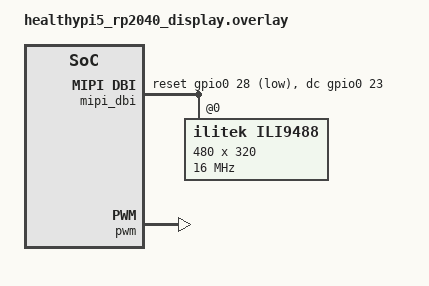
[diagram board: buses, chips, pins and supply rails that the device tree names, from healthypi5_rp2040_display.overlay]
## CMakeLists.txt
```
#-------------------------------------------------------------------------------
# Zephyr Example Application
#
# Copyright (c) 2021 Nordic Semiconductor ASA
# SPDX-License-Identifier: Apache-2.0

cmake_minimum_required(VERSION 3.13.1)
find_package(Zephyr REQUIRED HINTS $ENV{ZEPHYR_BASE})

# Apply Zephyr patches before build
#file(GLOB_RECURSE files RELATIVE ${CMAKE_SOURCE_DIR} "patches/*.diff")
#foreach(file ${files})
#    execute_process(COMMAND 
#                    patch -p1 -d $ENV{ZEPHYR_BASE} -i ${CMAKE_CURRENT_SOURCE_DIR}/${file} -r - --no-backup-if-mismatch)
#endforeach()

project(app LANGUAGES C)

FILE(GLOB app_sources src/*.c)
# Exclude BLE module from the unconditional source list. Added below via
# `target_sources_ifdef(CONFIG_HEALTHYPI_BLE_ENABLED ...)`.
list(REMOVE_ITEM app_sources ${CMAKE_CURRENT_SOURCE_DIR}/src/ble_module.c)
# Display/LVGL module is also excluded here and added conditionally below.
# This lets us build a no-LVGL variant for isolating display-related issues
# without touching #ifdef guards in every consumer.
list(REMOVE_ITEM app_sources ${CMAKE_CURRENT_SOURCE_DIR}/src/display_module.c)

FILE(GLOB ui_images_sources src/ui/images/*.c)
FILE(GLOB ui_sources src/ui/*.c)

# Explicitly list screen files (excluding scr_all_trends.c)
set(screen_sources
    src/ui/screens/scr_welcome.c
    src/ui/screens/scr_home.c
    src/ui/screens/scr_hr.c
    src/ui/screens/scr_spo2.c
    src/ui/screens/scr_rr.c
    src/ui/screens/scr_temp.c
    # src/ui/screens/scr_all_trends.c  # Disabled
)

target_sources(app PRIVATE ${app_sources})

# Add vital stats module
target_sources(app PRIVATE src/vital_stats.c)

# Add BLE module only if enabled in Kconfig
target_sources_ifdef(CONFIG_HEALTHYPI_BLE_ENABLED app PRIVATE src/ble_module.c)

# Add display/LVGL module + UI sources only if HEALTHYPI_DISPLAY_ENABLED.
# When disabled (e.g. via make_nolvgl.sh) these files are skipped entirely,
# so LVGL headers and the display thread are gone from the image — useful
# for narrowing down whether display work is the source of a regression.
target_sources_ifdef(CONFIG_HEALTHYPI_DISPLAY_ENABLED app PRIVATE
    src/display_module.c
    ${ui_images_sources}
    ${ui_sources}
    ${screen_sources}
)

#FILE(GLOB bt_sources src/bt/*.c)
#target_sources_ifdef(CONFIG_BT app PRIVATE ${bt_sources})

zephyr_include_directories(src)
zephyr_include_directories(src/display)
zephyr_include_directories(src/ui)
zephyr_include_directories(src/ui/images)
zephyr_include_directories(src/bt)
```

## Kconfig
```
# Copyright (c) 2021 Nordic Semiconductor ASA
# SPDX-License-Identifier: Apache-2.0
#
# This file is the application Kconfig entry point. All application Kconfig
# options can be defined here or included via other application Kconfig files.
# You can browse these options using the west targets menuconfig (terminal) or
# guiconfig (GUI).

mainmenu "HealthyPi 5 Project Configuration"

config HEALTHYPI_USB_CDC_ENABLED
    bool "Enable USB CDC"
    default n
    help
      Enable USB CDC

config HEALTHYPI_DISPLAY_ENABLED
    bool "Enable Display"
    default n
    help
      Enable Display

config HEALTHYPI_USB_MSC_ENABLED
    bool "Enable USB Mass Storage"
    default n
    help
      Enable USB MSC

config HEALTHYPI_SD_CARD_ENABLED
    bool "Enable SD Card"
    default n
    help
      Enable SD Card

config HEALTHYPI_BLE_ENABLED
    bool "Enable BLE support"
    default y
    help
      Enable building and initializing the Bluetooth (BLE) module.
      When disabled, `ble_module.c` is not compiled and Bluetooth features
      are excluded from the firmware image.
source "Kconfig.zephyr"
```

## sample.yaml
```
# This file is provided so that the application can be compiled using Twister,
# the Zephyr testing tool. In this file, multiple combinations can be specified,
# so that you can easily test all of them locally or in CI.
sample:
  description: Example application
  name: example-application 
common:
  build_only: true
  integration_platforms:
    - healthypi5_rp2040
tests:
  app.default: {}
  app.debug:
    extra_overlay_confs:
      - debug.conf
```

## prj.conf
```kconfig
# HealthyPi 5 Specific Configuration
CONFIG_HEALTHYPI_USB_CDC_ENABLED=y
CONFIG_HEALTHYPI_USB_MSC_ENABLED=n
CONFIG_HEALTHYPI_BLE_ENABLED=y
#CONFIG_HEALTHYPI_DISPLAY_ENABLED=n

CONFIG_DISK_ACCESS=y
CONFIG_DISK_DRIVER_SDMMC=y

CONFIG_FAT_FILESYSTEM_ELM=y
CONFIG_HEALTHYPI_SD_CARD_ENABLED=y

# Memory Configuration
CONFIG_HEAP_MEM_POOL_SIZE=32528
CONFIG_SYSTEM_WORKQUEUE_STACK_SIZE=12288
CONFIG_MAIN_STACK_SIZE=4096

# Zephyr OS Configuration
CONFIG_SMF=y
CONFIG_EVENTS=y
CONFIG_LOG=y
CONFIG_CBPRINTF_FP_SUPPORT=y

# Debug Configuration - Stack Overflow Detection
# Disabled to reduce RAM usage (was at 99.24%)
CONFIG_THREAD_STACK_INFO=n
CONFIG_THREAD_MONITOR=n
CONFIG_INIT_STACKS=n
CONFIG_THREAD_NAME=n
CONFIG_STACK_SENTINEL=y
#CONFIG_THREAD_ANALYZER=y
#CONFIG_THREAD_ANALYZER_AUTO=y
#CONFIG_THREAD_ANALYZER_AUTO_INTERVAL=60

# Runtime Checks and Assertions - Keep for crash detection
CONFIG_ASSERT=y
CONFIG_ASSERT_LEVEL=2

# Exception/Fault Debugging
CONFIG_EXTRA_EXCEPTION_INFO=y

# Logging buffer
CONFIG_LOG_BUFFER_SIZE=2048

# Peripheral device drivers
CONFIG_SENSOR=y
CONFIG_SENSOR_MAX30001=y
CONFIG_SENSOR_AFE4400=y
CONFIG_SENSOR_MAX30205=y
CONFIG_I2C=y
CONFIG_I2C_LOG_LEVEL_OFF=y
CONFIG_FUEL_GAUGE=y

CONFIG_SENSOR_ASYNC_API=y

CONFIG_ADC=y
CONFIG_LED=y
CONFIG_GPIO=y
CONFIG_SERIAL=y
CONFIG_UART_INTERRUPT_DRIVEN=y
CONFIG_SERIAL=y
CONFIG_CONSOLE=y
CONFIG_UART_CONSOLE=y
CONFIG_UART_LINE_CTRL=y

CONFIG_REBOOT=y

# Reset-cause readout (RP2040 reset reason register) for crash post-mortem
CONFIG_HWINFO=y

# Hardware watchdog - 8 second timeout to detect hard faults
CONFIG_WATCHDOG=y

# Filesystem & Internal Flash support to store data
CONFIG_FLASH=y
CONFIG_FLASH_MAP=y
CONFIG_FLASH_PAGE_LAYOUT=y
CONFIG_FILE_SYSTEM=y
CONFIG_FILE_SYSTEM_LITTLEFS=y
CONFIG_MPU_ALLOW_FLASH_WRITE=y

# Enabled settings module and FS to store settings
CONFIG_SETTINGS=y
CONFIG_SETTINGS_RUNTIME=y
CONFIG_SETTINGS_FILE=y
CONFIG_SETTINGS_FILE_PATH="/lfs/settings"

# USB Configuration — USBD-next stack (the legacy CONFIG_USB_DEVICE_STACK was
# deprecated in Zephyr 4.x and has known TX-stall issues on RP2040 under
# sustained CDC streaming). VID/PID/product strings are now set in
# src/usbd_init.c via USBD_DESC_* macros, not via Kconfig.
CONFIG_USB_DEVICE_STACK_NEXT=y
CONFIG_USBD_CDC_ACM_CLASS=y
# We bring up the CDC-ACM UART explicitly from usb_init() after the ring
# buffer is initialized, so don't auto-initialize at boot.
CONFIG_CDC_ACM_SERIAL_INITIALIZE_AT_BOOT=n
CONFIG_USBD_LOG_LEVEL_ERR=y
CONFIG_UDC_DRIVER_LOG_LEVEL_ERR=y
CONFIG_USBD_CDC_ACM_LOG_LEVEL_ERR=y

# Enable MCUmgr and dependencies.
CONFIG_NET_BUF=y
CONFIG_ZCBOR=y
CONFIG_CRC=y
CONFIG_MCUMGR=y
CONFIG_STREAM_FLASH=y
CONFIG_FLASH_MAP=y

CONFIG_BASE64=y
CONFIG_CONSOLE=y

CONFIG_PRINTK=y

CONFIG_INPUT=y

CONFIG_REQUIRES_FULL_LIBC=y
CONFIG_REQUIRES_FLOAT_PRINTF=y

CONFIG_CMSIS_DSP=y
CONFIG_CMSIS_DSP_FILTERING=y
# Ensure an MCUboot-compatible binary is generated.
#CONFIG_BOOTLOADER_MCUBOOT=y

# Tensorflow Lite Configuration
#CONFIG_CPP=y
#CONFIG_LIB_CPLUSPLUS=y
#CONFIG_NEWLIB_LIBC=y
#CONFIG_TENSORFLOW_LITE_MICRO=y
#CONFIG_TENSORFLOW_LITE_MICRO_CMSIS_NN_KERNELS=y

CONFIG_LOG=y
CONFIG_UART_CONSOLE=y

CONFIG_ENTROPY_GENERATOR=y
CONFIG_TEST_RANDOM_GENERATOR=y

CONFIG_LV_USE_LOG=y
CONFIG_LV_LOG_LEVEL_ERROR=y

CONFIG_DISPLAY_LOG_LEVEL_DBG=n
CONFIG_INPUT_LOG_LEVEL_DBG=n
CONFIG_SENSOR_LOG_LEVEL_WRN=y
CONFIG_MAX30001_LOG_LEVEL_WRN=y

## Bluetooth Configuration
# BT Host only configuration
CONFIG_BT=y
CONFIG_BT_HCI=y

CONFIG_BT_PERIPHERAL=y
CONFIG_BT_BAS=y
CONFIG_BT_HRS=y
CONFIG_BT_DEVICE_NAME="healthypi 5"

# BT HCI H4 Controller logs
CONFIG_BT_LOG_LEVEL_ERR=y
CONFIG_BT_HCI_DRIVER_LOG_LEVEL_ERR=y
CONFIG_BT_LL_SW_SPLIT=n

CONFIG_BT_ATT_TX_COUNT=50
CONFIG_BT_HCI_TX_STACK_SIZE_WITH_PROMPT=y
CONFIG_BT_HCI_TX_STACK_SIZE=4096
CONFIG_BT_RX_STACK_SIZE=4096

CONFIG_BT_ATT_PREPARE_COUNT=2
CONFIG_BT_L2CAP_TX_MTU=96
#CONFIG_BT_BUF_ACL_RX_SIZE=32777
#CONFIG_BT_BUF_ACL_RX_SIZE=502
#CONFIG_BT_BUF_ACL_TX_SIZE=502

CONFIG_BT_BUF_ACL_RX_SIZE=255
CONFIG_BT_BUF_ACL_TX_SIZE=251
CONFIG_BT_BUF_CMD_TX_SIZE=255

CONFIG_ZBUS=y
```

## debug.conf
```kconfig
# Copyright (c) 2021 Nordic Semiconductor ASA
# SPDX-License-Identifier: Apache-2.0
#
# This is a Kconfig fragment which can be used to enable debug-related options
# in the application. See the README for more details.

# compiler
CONFIG_DEBUG_OPTIMIZATIONS=y

# console
CONFIG_CONSOLE=y

# UART console
CONFIG_SERIAL=y
CONFIG_UART_CONSOLE=y

# logging
#CONFIG_LOG=y
#CONFIG_APP_LOG_LEVEL_DBG=y

# Post-mortem visibility for the USB-streaming reset investigation.
# These are intentionally OFF in prj.conf to save RAM (~99% on prod build);
# the debug image trades that headroom for diagnostics.
CONFIG_THREAD_NAME=y
CONFIG_THREAD_MONITOR=y
CONFIG_THREAD_STACK_INFO=y
CONFIG_THREAD_ANALYZER=y
CONFIG_THREAD_ANALYZER_AUTO=y
CONFIG_THREAD_ANALYZER_AUTO_INTERVAL=60
CONFIG_INIT_STACKS=y
CONFIG_EXTRA_EXCEPTION_INFO=y
```

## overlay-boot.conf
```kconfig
# Enable MCUmgr and dependencies.
CONFIG_NET_BUF=y
CONFIG_ZCBOR=y
CONFIG_CRC=y
CONFIG_MCUMGR=y
CONFIG_STREAM_FLASH=y
CONFIG_FLASH_MAP=y

# Enable the Shell mcumgr transport.
CONFIG_BASE64=y
#CONFIG_CRC=y
#CONFIG_SHELL=y
#CONFIG_SHELL_BACKEND_SERIAL=y
#CONFIG_MCUMGR_TRANSPORT_SHELL=y

# Enable the LittleFS file system.
CONFIG_FILE_SYSTEM=y
CONFIG_FILE_SYSTEM_LITTLEFS=y

# Disable Bluetooth ping support
CONFIG_BT_CTLR_LE_PING=n

# Ensure an MCUboot-compatible binary is generated.
CONFIG_BOOTLOADER_MCUBOOT=y

# Disable Bluetooth ping support
#CONFIG_BT_CTLR_LE_PING=n

#CONFIG_BT_CTLR_DATA_LENGTH_MAX=251

# Enable most core commands.
CONFIG_FLASH=y
CONFIG_IMG_MANAGER=y
CONFIG_MCUMGR_GRP_IMG=y
CONFIG_MCUMGR_GRP_OS=y

CONFIG_IMG_ERASE_PROGRESSIVELY=y
CONFIG_IMG_BLOCK_BUF_SIZE=4096

CONFIG_SYSTEM_WORKQUEUE_STACK_SIZE=28000

# Enable the Bluetooth mcumgr transport (unauthenticated).
CONFIG_MCUMGR_TRANSPORT_BT=y
CONFIG_MCUMGR_TRANSPORT_BT_AUTHEN=n
CONFIG_MCUMGR_TRANSPORT_BT_CONN_PARAM_CONTROL=n

# Enable the storage erase command.
CONFIG_MCUMGR_GRP_ZBASIC=y
CONFIG_MCUMGR_GRP_ZBASIC_STORAGE_ERASE=y

# Enable the mcumgr Packet Reassembly feature over Bluetooth and its configuration dependencies.
# MCUmgr buffer size is optimized to fit one SMP packet divided into five Bluetooth Write Commands,
# transmitted with the maximum possible MTU value: 498 bytes.
CONFIG_MCUMGR_TRANSPORT_BT_REASSEMBLY=n
CONFIG_MCUMGR_TRANSPORT_NETBUF_SIZE=498
CONFIG_MCUMGR_GRP_OS_MCUMGR_PARAMS=n
CONFIG_MCUMGR_TRANSPORT_WORKQUEUE_STACK_SIZE=4608

CONFIG_LOG=y
CONFIG_MCUBOOT_UTIL_LOG_LEVEL_DBG=y

CONFIG_MCUMGR_LOG_LEVEL_DBG=y
CONFIG_MCUMGR_GRP_OS_LOG_LEVEL_DBG=y
CONFIG_MCUMGR_GRP_IMG_LOG_LEVEL_DBG=y
#CONFIG_MCUMGR_GRP_ZBASIC_LOG_LEVEL_DBG=y
CONFIG_MCUMGR_TRANSPORT_LOG_LEVEL_DBG=y
CONFIG_MCUMGR_SMP_VERBOSE_ERR_RESPONSE=y

CONFIG_BT_PHY_UPDATE=y

# Support larger radio packets
CONFIG_BT_DATA_LEN_UPDATE=y 
```

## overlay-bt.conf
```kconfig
# BLE Configuration


#CONFIG_BT_HCI_ACL_FLOW_CONTROL=n

#CONFIG_BT_ATT_ENFORCE_FLOW=n

CONFIG_BT_ATT_TX_COUNT=50
CONFIG_BT_HCI_TX_STACK_SIZE_WITH_PROMPT=y
CONFIG_BT_HCI_TX_STACK_SIZE=4096
CONFIG_BT_RX_STACK_SIZE=4096

CONFIG_BT_ATT_PREPARE_COUNT=2
CONFIG_BT_L2CAP_TX_MTU=96
#CONFIG_BT_BUF_ACL_RX_SIZE=32777
#CONFIG_BT_BUF_ACL_RX_SIZE=502
#CONFIG_BT_BUF_ACL_TX_SIZE=502

CONFIG_BT_BUF_ACL_RX_SIZE=255
CONFIG_BT_BUF_ACL_TX_SIZE=251
CONFIG_BT_BUF_CMD_TX_SIZE=255

#CONFIG_BT_LOG_LEVEL_INF=y



# Add new 

#CONFIG_BT_DEBUG_LOG=y
#CONFIG_BT_DEBUG_HCI_CORE=y
#CONFIG_BT_DEBUG_CONN=y
#CONFIG_BT_DEBUG_L2CAP=y
#CONFIG_BT_DEBUG_ATT=y
#CONFIG_BT_DEBUG_GATT=y

#timeout is in multiples of 10ms... setting it to 4 seconds.. in sync with android connection timeout period
#CONFIG_BT_PERIPHERAL_PREF_TIMEOUT=400

#CONFIG_BT_CTLR_LE_ENC=n
#CONFIG_BT_CTLR_OPTIMIZE_FOR_SPEED=n

#CONFIG_BT_PHY_UPDATE=y

# Support larger radio packets
#CONFIG_BT_DATA_LEN_UPDATE=y 
```

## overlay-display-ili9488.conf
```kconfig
CONFIG_DISPLAY=y
CONFIG_DISPLAY_LOG_LEVEL_ERR=y

# LVGL Library Options
CONFIG_LVGL=y
CONFIG_LV_COLOR_DEPTH_32=y
CONFIG_LV_THEME_DEFAULT_DARK=y
#CONFIG_LV_MEM_CUSTOM=y
CONFIG_LV_USE_LOG=y
CONFIG_LV_USE_LABEL=y
#CONFIG_LV_USE_BTN=y
#CONFIG_LV_USE_IMG=y

# LVGL Settings
CONFIG_LV_Z_MEM_POOL_SYS_HEAP=y
CONFIG_LV_Z_MEM_POOL_SIZE=24576

# LVGL Font Options
#CONFIG_LV_FONT_MONTSERRAT_12=y
CONFIG_LV_FONT_MONTSERRAT_14=y
CONFIG_LV_FONT_MONTSERRAT_16=y
CONFIG_LV_FONT_MONTSERRAT_20=y
CONFIG_LV_FONT_MONTSERRAT_24=y
CONFIG_LV_FONT_MONTSERRAT_28=y
CONFIG_LV_FONT_MONTSERRAT_34=y
CONFIG_LV_FONT_MONTSERRAT_42=y

#CONFIG_LV_FONT_MONTSERRAT_12_SUBPX=y

#CONFIG_LV_CIRCLE_CACHE_SIZE=8
CONFIG_LV_FONT_DEFAULT_MONTSERRAT_12=y

#CONFIG_LV_USE_FONT_SUBPX=y

CONFIG_HEALTHYPI_DISPLAY_ENABLED=y
CONFIG_PWM=y
```

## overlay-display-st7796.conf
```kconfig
CONFIG_DISPLAY=y
CONFIG_DISPLAY_LOG_LEVEL_ERR=y

# LVGL Library Options
CONFIG_LVGL=y
CONFIG_LV_COLOR_DEPTH_32=y
CONFIG_LV_THEME_DEFAULT_DARK=y
#CONFIG_LV_MEM_CUSTOM=y
CONFIG_LV_USE_LOG=y
CONFIG_LV_USE_LABEL=y
#CONFIG_LV_USE_BTN=y
#CONFIG_LV_USE_IMG=y

# LVGL Settings
CONFIG_LV_Z_MEM_POOL_SYS_HEAP=y
CONFIG_LV_Z_MEM_POOL_SIZE=24576

# LVGL Font Options
#CONFIG_LV_FONT_MONTSERRAT_12=y
CONFIG_LV_FONT_MONTSERRAT_14=y
CONFIG_LV_FONT_MONTSERRAT_16=y
CONFIG_LV_FONT_MONTSERRAT_20=y
CONFIG_LV_FONT_MONTSERRAT_24=y
CONFIG_LV_FONT_MONTSERRAT_28=y
CONFIG_LV_FONT_MONTSERRAT_34=y
CONFIG_LV_FONT_MONTSERRAT_42=y

#CONFIG_LV_FONT_MONTSERRAT_12_SUBPX=y

#CONFIG_LV_CIRCLE_CACHE_SIZE=8
CONFIG_LV_FONT_DEFAULT_MONTSERRAT_12=y

#CONFIG_LV_USE_FONT_SUBPX=y

CONFIG_HEALTHYPI_DISPLAY_ENABLED=y
CONFIG_PWM=y

# Input longpress support for OK button long-press detection
CONFIG_INPUT_LONGPRESS=y
```

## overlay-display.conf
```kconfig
CONFIG_DISPLAY=y
CONFIG_DISPLAY_LOG_LEVEL_ERR=y

# LVGL Library Options
CONFIG_LVGL=y
CONFIG_LV_COLOR_DEPTH_32=y

#CONFIG_LV_COLOR_16_SWAP=y
CONFIG_LV_THEME_DEFAULT_DARK=y
CONFIG_LV_MEM_CUSTOM=y
CONFIG_LV_USE_LOG=y
CONFIG_LV_USE_LABEL=y
CONFIG_LV_USE_BTN=y
CONFIG_LV_USE_IMG=y

# LVGL Settings
CONFIG_LV_Z_MEM_POOL_SYS_HEAP=y
CONFIG_LV_Z_MEM_POOL_SIZE=16384

# LVGL Font Options
CONFIG_LV_FONT_MONTSERRAT_12=y
CONFIG_LV_FONT_MONTSERRAT_14=y
CONFIG_LV_FONT_MONTSERRAT_16=y
CONFIG_LV_FONT_MONTSERRAT_20=y
CONFIG_LV_FONT_MONTSERRAT_24=y
CONFIG_LV_FONT_MONTSERRAT_28=y
CONFIG_LV_FONT_MONTSERRAT_34=y
CONFIG_LV_FONT_MONTSERRAT_42=y
CONFIG_LV_FONT_MONTSERRAT_12_SUBPX=y
CONFIG_LV_CIRCLE_CACHE_SIZE=8
CONFIG_LV_FONT_DEFAULT_MONTSERRAT_12=y
CONFIG_LV_USE_FONT_SUBPX=y

CONFIG_HEALTHYPI_DISPLAY_ENABLED=y

CONFIG_LV_Z_POINTER_INPUT_MSGQ_COUNT=200
CONFIG_LV_Z_POINTER_INPUT=y

CONFIG_INPUT_FT5336=y
CONFIG_INPUT_FT5336_INTERRUPT=y

CONFIG_PWM=y
```

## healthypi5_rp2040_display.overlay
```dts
// ProtoCentral Electronics (info@protocentral.com)
// SPDX-License-Identifier: Apache-2.0

#include <zephyr/dt-bindings/display/ili9xxx.h>

/ {
	chosen {
		zephyr,display = &ili9488;
	};

	mipi_dbi {
		compatible = "zephyr,mipi-dbi-spi";
		reset-gpios = <&gpio0 28 GPIO_ACTIVE_LOW>;
		dc-gpios = <&gpio0 23 GPIO_ACTIVE_HIGH>;
		spi-dev = <&spi1>;
		#address-cells = <1>;
		#size-cells = <0>;

		ili9488: ili9488@0 {
			compatible = "ilitek,ili9488";
			reg = <0>;
			mipi-max-frequency = <16000000>;
			rotation = <90>;
			width = <480>;
			height = <320>;
			pixel-format = <ILI9XXX_PIXEL_FORMAT_RGB888>;
			display-inversion;

			frmctr1 = [ A0  ];
			pwctrl1 = [ 0F 0C  ];
			pwctrl2 = [ 41  ];
			vmctrl = [ 00 25 80  ];

			//pgamctrl = [ 00 03 09 08 16 0a 3f 78 4c 09 0a 08 16 1a 0f  ];
			pgamctrl = [ 00 10 14 01 0E 04 33 56 48 03 0C 0B 2B 34 0F  ];
			//ngamctrl = [ 00 16 19 03 0f 05 32 45 46 04 0e 0d 35 37 0f  ];
			ngamctrl = [ 00 12 18 05 12 06 40 34 57 06 10 0C 3B 3F 0F  ];
		};
	};
};

&pwm {
	status = "okay";
	divider-int-4 = <255>;
};
```

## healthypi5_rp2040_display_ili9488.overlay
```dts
#include <zephyr/dt-bindings/display/panel.h>
#include <zephyr/dt-bindings/input/input-event-codes.h>

/ {
	chosen {
		zephyr,display = &ili9488;
	};

	/* Input longpress configuration for OK button */
	longpress: longpress {
		compatible = "zephyr,input-longpress";
		input = <&{/gpio_keys}>;
		input-codes = <INPUT_KEY_ENTER>;
		short-codes = <INPUT_KEY_ENTER>;
		long-codes = <INPUT_BTN_0>;  /* Use BTN_0 for long press */
		long-delay-ms = <1000>;
	};

	mipi_dbi {
		compatible = "zephyr,mipi-dbi-spi";
		reset-gpios = <&gpio0 28 GPIO_ACTIVE_LOW>;
		dc-gpios = <&gpio0 23 GPIO_ACTIVE_HIGH>;
		spi-dev = <&spi1>;
		#address-cells = <1>;
		#size-cells = <0>;

		ili9488: ili9488@0 {
			compatible = "ilitek,ili9488";
			reg = <0>;
			mipi-max-frequency = <48000000>;
			rotation = <90>;
			/* Zephyr >= v4.4 (commit 'ili9xxx: fix orientation logic') changed the MADCTL
			 * mapping for 90/270 deg. h-mirror restores the MADCTL value used with
			 * Zephyr v4.2 (firmware <= v2.1.0), fixing the mirrored image.
			 */
			h-mirror;
			/* Native (unrotated) panel size. Zephyr >= v4.4 reads width/height from DT
			 * and swaps them for 90/270 deg rotation; 480x320 here made LVGL see a
			 * 320x480 screen and leave 160 columns undrawn (grey strip).
			 */
			width = <320>;
			height = <480>;
			pixel-format = <PANEL_PIXEL_FORMAT_RGB_888>;
			display-inversion;

			frmctr1 = [ A0  ];
			pwctrl1 = [ 0F 0C  ];
			pwctrl2 = [ 41  ];
			vmctrl = [ 00 25 80  ];

			//pgamctrl = [ 00 03 09 08 16 0a 3f 78 4c 09 0a 08 16 1a 0f  ];
			pgamctrl = [ 00 10 14 01 0E 04 33 56 48 03 0C 0B 2B 34 0F  ];
			//ngamctrl = [ 00 16 19 03 0f 05 32 45 46 04 0e 0d 35 37 0f  ];
			ngamctrl = [ 00 12 18 05 12 06 40 34 57 06 10 0C 3B 3F 0F  ];
		};
	};
};

&pwm {
	status = "okay";
	divider-int-4 = <255>;
};
```

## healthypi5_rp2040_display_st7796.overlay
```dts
// ProtoCentral Electronics (info@protocentral.com)
// SPDX-License-Identifier: Apache-2.0

#include <zephyr/dt-bindings/display/panel.h>
#include <zephyr/dt-bindings/input/input-event-codes.h>

/ {
	chosen {
		zephyr,display = &ili9488; 
	};

		/* Input longpress configuration for OK button */
	longpress: longpress {
		compatible = "zephyr,input-longpress";
		input = <&{/gpio_keys}>;
		input-codes = <INPUT_KEY_ENTER>;
		short-codes = <INPUT_KEY_ENTER>;
		long-codes = <INPUT_BTN_0>;  /* Use BTN_0 for long press */
		long-delay-ms = <1000>;
	};

	mipi_dbi {
		compatible = "zephyr,mipi-dbi-spi";
		reset-gpios = <&gpio0 28 GPIO_ACTIVE_LOW>;
		dc-gpios = <&gpio0 23 GPIO_ACTIVE_HIGH>;
		spi-dev = <&spi1>;
		#address-cells = <1>;
		#size-cells = <0>;
	
		ili9488: ili9488@0 {
			compatible = "ilitek,ili9488";
			reg = <0>;
			mipi-max-frequency = <32000000>;
			rotation = <270>;
			/* Zephyr >= v4.4 (commit 'ili9xxx: fix orientation logic') changed the MADCTL
			 * mapping for 90/270 deg. h-mirror restores the MADCTL value used with
			 * Zephyr v4.2 (firmware <= v2.1.0), fixing the mirrored image.
			 */
			h-mirror;
			/* Native (unrotated) panel size. Zephyr >= v4.4 reads width/height from DT
			 * and swaps them for 90/270 deg rotation; 480x320 here made LVGL see a
			 * 320x480 screen and leave 160 columns undrawn (grey strip).
			 */
			width = <320>;
			height = <480>;
			pixel-format = <PANEL_PIXEL_FORMAT_RGB_888>;

			frmctr1 = [ a0 11  ];
			pwctrl1 = [ 17 15  ];
			pwctrl2 = [ 41  ];
			pgamctrl = [ 00 03 09 08 16 0a 3f 78 4c 09 0a 08 16 1a 0f  ];
			ngamctrl = [ 00 16 19 03 0f 05 32 45 46 04 0e 0d 35 37 0f  ];
		};
	};
};

&pwm {
	status = "okay";
	divider-int-4 = <255>;
};
```

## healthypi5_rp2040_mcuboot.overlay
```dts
///delete-node/ &flash0;

/delete-node/ &code_partition;
/delete-node/ &storage_partition;

&flash0 {
	reg = <0x10000000 DT_SIZE_M(16)>;

	partitions {

		compatible = "fixed-partitions";
		#address-cells = <1>;
		#size-cells = <1>;

		/* Reserved memory for the second stage bootloader */
		second_stage_bootloader: partition@0 {
			label = "second_stage_bootloader";
			reg = <0x00000000 0x100>;
			read-only;
		};

		boot_partition: partition@100 {
            label = "mcuboot";
            reg = <0x100 0xF000>;
			read-only;
        };

		/*
		 * Usable flash. Starts at 0x100, after the bootloader. The partition
		 * size is 2MB minus the 0x100 bytes taken by the bootloader.
		 */

		/* Reserve 1024kB for the application in slot 0 */
		slot0_partition: partition@10000 {
			label = "image-0";
			reg = <0x10000 0x00100000>;
		};

		/* Reserve 1024kB for the application in slot 1 */
		slot1_partition: partition@110000 {
			label = "image-1";
			reg = <0x110000 0x00100000>;
		};

		/*scratch_partition: partition@111000 {
			label = "image-scratch";
			reg = <0x111000 DT_SIZE_M(x)>;
		};*/

		storage_partition: partition@211000 {
			label = "storage";
			reg = <0x211000 DT_SIZE_M(8)>;
		};
	};
};


/ {
	chosen {
		zephyr,code-partition = &slot0_partition;
	};
};
```

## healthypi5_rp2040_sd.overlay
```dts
// ProtoCentral Electronics (info@protocentral.com)
// SPDX-License-Identifier: Apache-2.0

&spi1 {
	sdhc0: sdhc@1 {
		compatible = "zephyr,sdhc-spi-slot";
		reg = <1>;
		status = "okay";
		power-delay-ms = <5>;
		spi-max-frequency = <DT_FREQ_M(4)>;
		mmc {
			compatible = "zephyr,sdmmc-disk";
			status = "okay";
		};
	};
};
```

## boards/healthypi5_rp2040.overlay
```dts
// ProtoCentral Electronics (info@protocentral.com)
// SPDX-License-Identifier: Apache-2.0

/ {
	chosen {
		zephyr,display = &ili9488; 
	};
};


&zephyr_udc0 {
	cdc_acm_uart0: cdc_acm_uart0 {
		compatible = "zephyr,cdc-acm-uart";
	};
};

/*
&spi1 {
	clock-frequency = <DT_FREQ_M(48)>;
	status = "okay";
	pinctrl-0 = <&spi1_default>;
	pinctrl-names = "default";
	cs-gpios = <&gpio0 29 GPIO_ACTIVE_LOW>;

	ili9488: ili9488@0 {
		compatible = "ilitek,ili9488";
		spi-max-frequency = <48000000>;
		reg = <0>
		cmd-data-gpios = <&gpio0 23 GPIO_ACTIVE_LOW>; /* D7 
		reset-gpios = <&gpio0 28 GPIO_ACTIVE_LOW>; /* D10 
		//pixel-format = <ILI9XXX_PIXEL_FORMAT_RGB888>;
		width = <480>;
		height = <320>;
		rotation = <270>;
		frmctr1 = [ a0 11  ];
		pwctrl1 = [ 17 15  ];
		pwctrl2 = [ 41  ];
		pgamctrl = [ 00 03 09 08 16 0a 3f 78 4c 09 0a 08 16 1a 0f  ];
		ngamctrl = [ 00 16 19 03 0f 05 32 45 46 04 0e 0d 35 37 0f  ];
	};
};
*/
/*
&pwm {
	status = "okay";
	divider-frac-1 = <15>;
	divider-int-1 = <255>;
};*/
```

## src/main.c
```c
/*
 * SPDX-License-Identifier: MIT
 *
 * Copyright (c) 2025 Ashwin Whitchurch, ProtoCentral Electronics
 *
 * Permission is hereby granted, free of charge, to any person obtaining a copy
 * of this software and associated documentation files (the "Software"), to deal
 * in the Software without restriction, including without limitation the rights
 * to use, copy, modify, merge, publish, distribute, sublicense, and/or sell
 * copies of the Software, and to permit persons to whom the Software is
 * furnished to do so, subject to the following conditions:
 *
 * The above copyright notice and this permission notice shall be included in all
 * copies or substantial portions of the Software.
 *
 * THE SOFTWARE IS PROVIDED "AS IS", WITHOUT WARRANTY OF ANY KIND, EXPRESS OR
 * IMPLIED, INCLUDING BUT NOT LIMITED TO THE WARRANTIES OF MERCHANTABILITY,
 * FITNESS FOR A PARTICULAR PURPOSE AND NONINFRINGEMENT. IN NO EVENT SHALL THE
 * AUTHORS OR COPYRIGHT HOLDERS BE LIABLE FOR ANY CLAIM, DAMAGES OR OTHER
 * LIABILITY, WHETHER IN AN ACTION OF CONTRACT, TORT OR OTHERWISE, ARISING FROM,
 * OUT OF OR IN CONNECTION WITH THE SOFTWARE OR THE USE OR OTHER DEALINGS IN THE
 * SOFTWARE.
 */



#include <zephyr/device.h>
#include <zephyr/devicetree.h>
#include <zephyr/drivers/gpio.h>
#include <stdio.h>
#include <string.h>
#include <zephyr/kernel.h>
#include <zephyr/sys/reboot.h>
#include <zephyr/fatal.h>

#include <zephyr/logging/log.h>
#include <zephyr/logging/log_ctrl.h>

#include "fs_module.h"

#include <app_version.h>

#include "ble_module.h"

#define LOG_LEVEL CONFIG_LOG_DEFAULT_LEVEL
LOG_MODULE_REGISTER(healthypi5, LOG_LEVEL);

int main(void)
{
	LOG_INF("HealthyPi 5 started !! FW version: %d.%d.%d", APP_VERSION_MAJOR, APP_VERSION_MINOR, APP_PATCHLEVEL);

	return 0;
}

void k_sys_fatal_error_handler(unsigned int reason, const struct arch_esf *esf)
{
    LOG_PANIC();

    LOG_ERR("========================================");
    LOG_ERR("FATAL ERROR at uptime: %lld ms", k_uptime_get());
    LOG_ERR("Reason: %u", reason);
    
    // Log reason codes
    switch (reason) {
        case K_ERR_CPU_EXCEPTION:
            LOG_ERR("CPU Exception");
            break;
        case K_ERR_KERNEL_PANIC:
            LOG_ERR("Kernel Panic");
            break;
        case K_ERR_STACK_CHK_FAIL:
            LOG_ERR("Stack Check Failure (Stack Overflow)");
            break;
        case K_ERR_KERNEL_OOPS:
            LOG_ERR("Kernel Oops");
            break;
        default:
            LOG_ERR("Unknown fatal error");
            break;
    }
    LOG_ERR("========================================");
    
    // Give time for log to flush
    k_sleep(K_MSEC(100));
    
    // Don't reboot - stay in error state for debugging
    while (1) {
        k_sleep(K_FOREVER);
    }

    CODE_UNREACHABLE;
}
```

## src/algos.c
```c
#include <zephyr/kernel.h>
#include <zephyr/logging/log.h>
#include <zephyr/device.h>
#include <zephyr/drivers/sensor.h>
#include <stdio.h>

#include "algos.h"

int RESP_Second_Prev_Sample = 0 ;
int RESP_Prev_Sample = 0 ;
int RESP_Current_Sample = 0 ;
int RESP_Next_Sample = 0 ;
int RESP_Second_Next_Sample = 0 ;

uint8_t Respiration_Rate = 0 ;

int16_t RESP_WorkingBuff[2 * FILTERORDER];
int16_t Pvev_DC_Sample=0, Pvev_Sample=0;

static int32_t an_x[BUFFER_SIZE];
static int32_t an_x_1[BUFFER_SIZE];
static int32_t an_y[BUFFER_SIZE];


const uint8_t uch_spo2_table[184] = {95, 95, 95, 96, 96, 96, 97, 97, 97, 97, 97, 98, 98, 98, 98, 98, 99, 99, 99, 99,
                                     99, 99, 99, 99, 100, 100, 100, 100, 100, 100, 100, 100, 100, 100, 100, 100, 100, 100, 100, 100,
                                     100, 100, 100, 100, 99, 99, 99, 99, 99, 99, 99, 99, 98, 98, 98, 98, 98, 98, 97, 97,
                                     97, 97, 96, 96, 96, 96, 95, 95, 95, 94, 94, 94, 93, 93, 93, 92, 92, 92, 91, 91,
                                     90, 90, 89, 89, 89, 88, 88, 87, 87, 86, 86, 85, 85, 84, 84, 83, 82, 82, 81, 81,
                                     80, 80, 79, 78, 78, 77, 76, 76, 75, 74, 74, 73, 72, 72, 71, 70, 69, 69, 68, 67,
                                     66, 66, 65, 64, 63, 62, 62, 61, 60, 59, 58, 57, 56, 56, 55, 54, 53, 52, 51, 50,
                                     49, 48, 47, 46, 45, 44, 43, 42, 41, 40, 39, 38, 37, 36, 35, 34, 33, 31, 30, 29,
                                     28, 27, 26, 25, 23, 22, 21, 20, 19, 17, 16, 15, 14, 12, 11, 10, 9, 7, 6, 5,
                                     3, 2, 1};


int16_t  RespCoeffBuf[FILTERORDER] = { 120,    124,    126,    127,    127,    125,    122,    118,    113,  /* Coeff for lowpass Fc=2Hz @ 125 SPS*/
                                      106,     97,     88,     77,     65,     52,     38,     24,      8,
                                       -8,    -25,    -42,    -59,    -76,    -93,   -110,   -126,   -142,
                                     -156,   -170,   -183,   -194,   -203,   -211,   -217,   -221,   -223,
                                     -223,   -220,   -215,   -208,   -198,   -185,   -170,   -152,   -132,
                                     -108,    -83,    -55,    -24,      8,     43,     80,    119,    159,
                                      201,    244,    288,    333,    378,    424,    470,    516,    561,
                                      606,    650,    693,    734,    773,    811,    847,    880,    911,
                                      939,    964,    986,   1005,   1020,   1033,   1041,   1047,   1049,
                                     1047,   1041,   1033,   1020,   1005,    986,    964,    939,    911,
                                      880,    847,    811,    773,    734,    693,    650,    606,    561,
                                      516,    470,    424,    378,    333,    288,    244,    201,    159,
                                      119,     80,     43,      8,    -24,    -55,    -83,   -108,   -132,
                                     -152,   -170,   -185,   -198,   -208,   -215,   -220,   -223,   -223,
                                     -221,   -217,   -211,   -203,   -194,   -183,   -170,   -156,   -142,
                                     -126,   -110,    -93,    -76,    -59,    -42,    -25,     -8,      8,
                                       24,     38,     52,     65,     77,     88,     97,    106,    113,
                                      118,    122,    125,    127,    127,    126,    124,    120   };

void hpi_estimate_spo2(uint16_t *pun_ir_buffer, int32_t n_ir_buffer_length, uint16_t *pun_red_buffer, uint16_t power_ir_average,int32_t *pn_spo2, int8_t *pch_spo2_valid, int32_t *pn_heart_rate, int8_t *pch_hr_valid)
{

  uint32_t un_ir_mean;
  int32_t k, n_i_ratio_count;
  int32_t i, n_exact_ir_valley_locs_count, n_middle_idx;
  int32_t n_th1, n_npks;
  int32_t an_ir_valley_locs[15];
  int32_t n_peak_interval_sum;
  int32_t n_y_ac, n_x_ac;
  int32_t n_spo2_calc;
  int32_t n_y_dc_max, n_x_dc_max;
  int32_t n_y_dc_max_idx = 0;
  int32_t probe_error_count;
  int32_t n_x_dc_max_idx = 0;
  int32_t an_ratio[5], n_ratio_average;
  int32_t n_nume, n_denom;
  static uint16_t probeErrorMinThreshold = 9500;
  uint16_t slope_ppg;


  // calculates DC mean and subtract DC from ir
  un_ir_mean = 0;
  probe_error_count = 0;

  for (k = 0; k < n_ir_buffer_length; k++)
  {
    un_ir_mean += pun_ir_buffer[k];

  }
  
  un_ir_mean = un_ir_mean / n_ir_buffer_length;

  // remove DC and invert signal so that we can use peak detector as valley detector
  for (k = 0; k < n_ir_buffer_length; k++)
  {
    an_x[k] = -1 * (pun_ir_buffer[k] - un_ir_mean);
    an_x_1[k] = (pun_ir_buffer[k] - un_ir_mean);
    if (((uint16_t)an_x[k] <= probeErrorMinThreshold))
      probe_error_count++;
  }

  slope_ppg = (uint16_t)(((uint16_t)an_x_1[99] - (uint16_t)an_x_1[0]) / 99);
  if ((abs(un_ir_mean - power_ir_average) < 100) || (probe_error_count>50) || (slope_ppg == 0))
  {
    *pn_spo2 = -999; // since amplitude is in the range of 8000, it means no presence is detected
    *pch_spo2_valid = 0;
    *pn_heart_rate = 0;
    *pch_hr_valid = 0;
    return;
  }
  
  // 4 pt Moving Average
  for (k = 0; k < BUFFER_SIZE - MA4_SIZE; k++)
  {
    an_x[k] = (an_x[k] + an_x[k + 1] + an_x[k + 2] + an_x[k + 3]) / (int)4;
  }

  // calculate threshold
  n_th1 = 0;

  for (k = 0; k < BUFFER_SIZE; k++)
  {
    n_th1 += an_x[k];
  }

  n_th1 = n_th1 / (BUFFER_SIZE);

  if (n_th1 < 30)
  {
    n_th1 = 30; // min allowed
  }

  if (n_th1 > 60)
  {
    n_th1 = 60; // max allowed
  }

  for (k = 0; k < 15; k++)
  {
    an_ir_valley_locs[k] = 0;
  }

  // since we flipped signal, we use peak detector as valley detector
  hpi_find_peak(an_ir_valley_locs, &n_npks, an_x, BUFFER_SIZE, n_th1, 4, 15); // peak_height, peak_distance, max_num_peaks
  
  n_peak_interval_sum = 0;

  if (n_npks >= 2)
  {

    for (k = 1; k < n_npks; k++)
    {
      n_peak_interval_sum += (an_ir_valley_locs[k] - an_ir_valley_locs[k - 1]);
    }

    n_peak_interval_sum = n_peak_interval_sum / (n_npks - 1);
    // Serial.println(n_npks);

    *pn_heart_rate = (int32_t)((SF_spo2 * 60) / n_peak_interval_sum);
    *pch_hr_valid = 1;
  }
  else
  {
    *pn_heart_rate = -999; // unable to calculate because # of peaks are too small
    *pch_hr_valid = 0;
  }

  //  load raw value again for SPO2 calculation : RED(=y) and IR(=X)
  for (k = 0; k < n_ir_buffer_length; k++)
  {
    an_x[k] = pun_ir_buffer[k];
    an_y[k] = pun_red_buffer[k];
  }

  // find precise min near an_ir_valley_locs
  n_exact_ir_valley_locs_count = n_npks;

  // using exact_ir_valley_locs , find ir-red DC andir-red AC for SPO2 calibration an_ratio
  // finding AC/DC maximum of raw

  n_ratio_average = 0;
  n_i_ratio_count = 0;

  for (k = 0; k < 5; k++)
  {
    an_ratio[k] = 0;
  }

  for (k = 0; k < n_exact_ir_valley_locs_count; k++)
  {

    if (an_ir_valley_locs[k] > BUFFER_SIZE)
    {
      *pn_spo2 = -999; // do not use SPO2 since valley loc is out of range
      *pch_spo2_valid = 0;
      return;
    }
  }
  // find max between two valley locations
  // and use an_ratio betwen AC compoent of Ir & Red and DC compoent of Ir & Red for SPO2
  for (k = 0; k < n_exact_ir_valley_locs_count - 1; k++)
  {
    n_y_dc_max = -16777216;
    n_x_dc_max = -16777216;

    if (an_ir_valley_locs[k + 1] - an_ir_valley_locs[k] > 3)
    {

      for (i = an_ir_valley_locs[k]; i < an_ir_valley_locs[k + 1]; i++)
      {

        if (an_x[i] > n_x_dc_max)
        {
          n_x_dc_max = an_x[i];
          n_x_dc_max_idx = i;
        }

        if (an_y[i] > n_y_dc_max)
        {
          n_y_dc_max = an_y[i];
          n_y_dc_max_idx = i;
        }
      }
      n_y_ac = (an_y[an_ir_valley_locs[k + 1]] - an_y[an_ir_valley_locs[k]]) * (n_y_dc_max_idx - an_ir_valley_locs[k]); // red
      n_y_ac = an_y[an_ir_valley_locs[k]] + n_y_ac / (an_ir_valley_locs[k + 1] - an_ir_valley_locs[k]);
      n_y_ac = an_y[n_y_dc_max_idx] - n_y_ac;                                                                           // subracting linear DC compoenents from raw
      n_x_ac = (an_x[an_ir_valley_locs[k + 1]] - an_x[an_ir_valley_locs[k]]) * (n_x_dc_max_idx - an_ir_valley_locs[k]); // ir
      n_x_ac = an_x[an_ir_valley_locs[k]] + n_x_ac / (an_ir_valley_locs[k + 1] - an_ir_valley_locs[k]);
      n_x_ac = an_x[n_y_dc_max_idx] - n_x_ac; // subracting linear DC compoenents from raw
      n_nume = (n_y_ac * n_x_dc_max) >> 7;    // prepare X100 to preserve floating value
      n_denom = (n_x_ac * n_y_dc_max) >> 7;

      if (n_denom > 0 && n_i_ratio_count < 5 && n_nume != 0)
      {
        an_ratio[n_i_ratio_count] = (n_nume * 100) / n_denom; // formular is ( n_y_ac *n_x_dc_max) / ( n_x_ac *n_y_dc_max) ;
        n_i_ratio_count++;
      }
    }
  }
  // choose median value since PPG signal may varies from beat to beat
  hpi_sort_ascend(an_ratio, n_i_ratio_count);
  n_middle_idx = n_i_ratio_count / 2;

  if (n_middle_idx > 1)
  {
    n_ratio_average = (an_ratio[n_middle_idx - 1] + an_ratio[n_middle_idx]) / 2; // use median
  }
  else
  {
    n_ratio_average = an_ratio[n_middle_idx];
  }

  if (n_ratio_average > 2 && n_ratio_average < 184)
  {
    n_spo2_calc = uch_spo2_table[n_ratio_average];
    *pn_spo2 = n_spo2_calc;
    *pch_spo2_valid = 1; //  float_SPO2 =  -45.060*n_ratio_average* n_ratio_average/10000 + 30.354 *n_ratio_average/100 + 94.845 ;  // for comparison with table
  }
  else
  {
    *pn_spo2 = -999; // do not use SPO2 since signal an_ratio is out of range
    *pch_spo2_valid = 0;
  }
}

void hpi_find_peak(int32_t *pn_locs, int32_t *n_npks, int32_t *pn_x, int32_t n_size, int32_t n_min_height, int32_t n_min_distance, int32_t n_max_num)
{
  hpi_find_peak_above(pn_locs, n_npks, pn_x, n_size, n_min_height);
  hpi_remove_close_peaks(pn_locs, n_npks, pn_x, n_min_distance);
  *n_npks = min(*n_npks, n_max_num);
}

void hpi_find_peak_above(int32_t *pn_locs, int32_t *n_npks, int32_t *pn_x, int32_t n_size, int32_t n_min_height)
{
  int32_t i = 1, n_width;
  *n_npks = 0;

  while (i < n_size - 1)
  {

    if (pn_x[i] > n_min_height && pn_x[i] > pn_x[i - 1])
    { // find left edge of potential peaks
      n_width = 1;

      while (i + n_width < n_size && pn_x[i] == pn_x[i + n_width]) // find flat peaks
      {
        n_width++;
      }

      if (pn_x[i] > pn_x[i + n_width] && (*n_npks) < 15)
      { // find right edge of peaks
        pn_locs[(*n_npks)++] = i;
        // for flat peaks, peak location is left edge
        i += n_width + 1;
      }
      else
      {
        i += n_width;
      }
    }
    else
    {
      i++;
    }
  }
}

void hpi_remove_close_peaks(int32_t *pn_locs, int32_t *pn_npks, int32_t *pn_x, int32_t n_min_distance)
{
  int32_t i, j, n_old_npks, n_dist; /* Order peaks from large to small */
  hpi_sort_indices_descend(pn_x, pn_locs, *pn_npks);

  for (i = -1; i < *pn_npks; i++)
  {
    n_old_npks = *pn_npks;
    *pn_npks = i + 1;

    for (j = i + 1; j < n_old_npks; j++)
    {
      n_dist = pn_locs[j] - (i == -1 ? -1 : pn_locs[i]); // lag-zero peak of autocorr is at index -1

      if (n_dist > n_min_distance || n_dist < -n_min_distance)
      {
        pn_locs[(*pn_npks)++] = pn_locs[j];
      }
    }
  }
  // Resort indices int32_to ascending order
  hpi_sort_ascend(pn_locs, *pn_npks);
}

void hpi_sort_ascend(int32_t *pn_x, int32_t n_size)
{
  int32_t i, j, n_temp;

  for (i = 1; i < n_size; i++)
  {
    n_temp = pn_x[i];

    for (j = i; j > 0 && n_temp < pn_x[j - 1]; j--)
    {
      pn_x[j] = pn_x[j - 1];
    }
    pn_x[j] = n_temp;
  }
}

void hpi_sort_indices_descend(int32_t *pn_x, int32_t *pn_indx, int32_t n_size)
{
  int32_t i, j, n_temp;

  for (i = 1; i < n_size; i++)
  {
    n_temp = pn_indx[i];

    for (j = i; j > 0 && pn_x[n_temp] > pn_x[pn_indx[j - 1]]; j--)
    {
      pn_indx[j] = pn_indx[j - 1];
    }
    pn_indx[j] = n_temp;
  }
}

void Resp_FilterProcess(int16_t * RESP_WorkingBuff, int16_t * CoeffBuf, int16_t* FilterOut)
{
  int32_t acc=0;     // accumulator for MACs
  int  k;
// perform the multiply-accumulate
  for ( k = 0; k < 161; k++ )
  {
      acc += (int32_t)(*CoeffBuf++) * (int32_t)(*RESP_WorkingBuff--);
  }
  // saturate the result
  if ( acc > 0x3fffffff )
  {
      acc = 0x3fffffff;
  } 
  
  else if ( acc < -0x40000000 )
  {
    acc = -0x40000000;
  }

  // convert from Q30 to Q15
  *FilterOut = (int16_t)(acc >> 15);
}

void Resp_ProcessCurrSample(int16_t *CurrAqsSample,int16_t *respFiltered)
{
  static uint16_t bufStart=0, bufCur = FILTERORDER-1;    
  int16_t temp1;//, RESPData;
  int16_t RESPData;
  int16_t FiltOut; 

  for (int i=0;i<4;i++)
  {
    temp1 = NRCOEFF * Pvev_DC_Sample;
    Pvev_DC_Sample = (CurrAqsSample[i]  - Pvev_Sample) + temp1;
    Pvev_Sample = CurrAqsSample[i];
    RESPData = (int16_t) Pvev_DC_Sample;   

    /* Store the DC removed value in RESP_WorkingBuff buffer in millivolts range*/
    RESP_WorkingBuff[bufCur] = RESPData;
    Resp_FilterProcess(&RESP_WorkingBuff[bufCur],RespCoeffBuf,(int16_t*)&FiltOut);
    /* Store the DC removed value in Working buffer in millivolts range*/
    RESP_WorkingBuff[bufStart] = RESPData;
    respFiltered[i] = FiltOut;
    /* Store the filtered out sample to the LeadInfo buffer*/  
    bufCur++;
    bufStart++;
    
    if ( bufStart  >= (FILTERORDER-1))
    {
      bufStart=0; 
      bufCur = FILTERORDER-1;
    }
  }
}
  
void RESP_Algorithm_Interface(int16_t *CurrSample,volatile uint8_t *RespirationRate)
{

  static int16_t prev_data[64] ={0};
  long Mac=0;

  for (int k =0;k<4;k++)
  {
    prev_data[3-k] = CurrSample[k];
  }
  
  for ( int i=63; i > 0; i--)
  {
    Mac += prev_data[i];
    prev_data[i] = prev_data[i-1];

  }
  
  Mac += CurrSample[0];

  Respiration_Rate_Detection((int16_t) Mac >> 1,RespirationRate);
}

void Respiration_Rate_Detection(int16_t Resp_wave,volatile uint8_t *RespirationRate)
{ 
  static uint16_t skipCount = 0, SampleCount = 0,TimeCnt=0, SampleCountNtve=0, PtiveCnt =0;
  static int16_t MinThreshold = 0x7FFF, MaxThreshold = 0x8000, PrevSample = 0, PrevPrevSample = 0, PrevPrevPrevSample =0;
  static int16_t MinThresholdNew = 0x7FFF, MaxThresholdNew = 0x8000, AvgThreshold = 0;
  static unsigned char startCalc=0, PtiveEdgeDetected=0, peakCount = 0;
  static uint16_t PeakCount[10];   
  SampleCount += 4;
  TimeCnt += 4;
  
  if (Resp_wave < MinThresholdNew) 
  {
    MinThresholdNew = Resp_wave;
  }
  
  if (Resp_wave > MaxThresholdNew) 
  {
    MaxThresholdNew = Resp_wave;
  }
  
  if (SampleCount > 1000)
  {
    SampleCount =0;
  }
  if (SampleCountNtve > 1000)
  {
    SampleCountNtve =0;
  }
  
  if ( startCalc == 1)
  {
    
    if (TimeCnt >= 500)
    {
      TimeCnt = 0;
      
      if ( (MaxThresholdNew - MinThresholdNew) > 400)
      {
        MaxThreshold = MaxThresholdNew; 
        MinThreshold =  MinThresholdNew;
        AvgThreshold = MaxThreshold + MinThreshold;
        AvgThreshold = AvgThreshold >> 1;
      }else{

        startCalc = 0;
        Respiration_Rate = 0;
      }
    }
    PrevPrevPrevSample = PrevPrevSample;
    PrevPrevSample = PrevSample;
    PrevSample = Resp_wave;
    
    if ( skipCount == 0)
    {
      
      if (PrevPrevPrevSample < AvgThreshold && Resp_wave > AvgThreshold)
      {
        PtiveEdgeDetected = 1;
        PtiveCnt = SampleCount;
        skipCount = 4;
        SampleCount = 0;
      }
      
      if (PtiveEdgeDetected ==1)
      {
        PtiveEdgeDetected = 0;
        
        PeakCount[peakCount++] = PtiveCnt;
        
        if(peakCount == 10)
        {
          peakCount = 0;
          PtiveCnt = PeakCount[0] + PeakCount[1] + PeakCount[2] + PeakCount[3] + 
          PeakCount[4] + PeakCount[5] + PeakCount[6] + PeakCount[7] + PeakCount[8] + PeakCount[9];
          PtiveCnt = PtiveCnt >> 3;

          peakCount = 9;
          for (int k=0;k<9;k++)
          {
            PeakCount[k] = PeakCount[k+1];
          }
    
          Respiration_Rate = 6000/PtiveCnt; // 60 * 125/SampleCount;
        }
      }
    
    }else{
      skipCount--;
    }
  }else{
    
    if (TimeCnt >= 500)
    {
      TimeCnt = 0;
     
      if ( (MaxThresholdNew - MinThresholdNew) > 400)
      {
        startCalc = 1;
        MaxThreshold = MaxThresholdNew; 
        MinThreshold =  MinThresholdNew;
        AvgThreshold = MaxThreshold + MinThreshold;
        AvgThreshold = AvgThreshold >> 1;
        PrevPrevPrevSample = Resp_wave;
        PrevPrevSample = Resp_wave;
        PrevSample = Resp_wave;
      }
    }
  }


  *RespirationRate=(uint8_t)Respiration_Rate;
}
```

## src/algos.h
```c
#pragma once

#define SF_spo2 25 // sampling frequency
#define BUFFER_SIZE (SF_spo2 * 4)
#define MA4_SIZE 4 // DONOT CHANGE
#define min(x, y) ((x) < (y) ? (x) : (y))

#define FILTERORDER 161 /* DC Removal Numerator Coeff*/
#define NRCOEFF (0.992)

//void hpi_estimate_spo2(uint16_t *pun_ir_buffer, int32_t n_ir_buffer_length, uint16_t *pun_red_buffer, int32_t *pn_spo2, int8_t *pch_spo2_valid, int32_t *pn_heart_rate, int8_t *pch_hr_valid);
void hpi_estimate_spo2(uint16_t *pun_ir_buffer, int32_t n_ir_buffer_length, uint16_t *pun_red_buffer, uint16_t power_ir_average,int32_t *pn_spo2, int8_t *pch_spo2_valid, int32_t *pn_heart_rate, int8_t *pch_hr_valid);
void hpi_find_peak(int32_t *pn_locs, int32_t *n_npks, int32_t *pn_x, int32_t n_size, int32_t n_min_height, int32_t n_min_distance, int32_t n_max_num);
void hpi_find_peak_above(int32_t *pn_locs, int32_t *n_npks, int32_t *pn_x, int32_t n_size, int32_t n_min_height);
void hpi_remove_close_peaks(int32_t *pn_locs, int32_t *pn_npks, int32_t *pn_x, int32_t n_min_distance);
void hpi_sort_ascend(int32_t *pn_x, int32_t n_size);
void hpi_sort_indices_descend(int32_t *pn_x, int32_t *pn_indx, int32_t n_size);

void Resp_FilterProcess(int16_t * RESP_WorkingBuff, int16_t * CoeffBuf, int16_t* FilterOut);
void Resp_ProcessCurrSample(int16_t *CurrAqsSample,int16_t *respFiltered);
void RESP_Algorithm_Interface(int16_t *CurrSample,volatile uint8_t *RespirationRate);
void Respiration_Rate_Detection(int16_t Resp_wave,volatile uint8_t *RespirationRate);
```

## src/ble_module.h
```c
/*
 * SPDX-License-Identifier: MIT
 *
 * Copyright (c) 2025 Ashwin Whitchurch, ProtoCentral Electronics
 *
 * Permission is hereby granted, free of charge, to any person obtaining a copy
 * of this software and associated documentation files (the "Software"), to deal
 * in the Software without restriction, including without limitation the rights
 * to use, copy, modify, merge, publish, distribute, sublicense, and/or sell
 * copies of the Software, and to permit persons to whom the Software is
 * furnished to do so, subject to the following conditions:
 *
 * The above copyright notice and this permission notice shall be included in all
 * copies or substantial portions of the Software.
 *
 * THE SOFTWARE IS PROVIDED "AS IS", WITHOUT WARRANTY OF ANY KIND, EXPRESS OR
 * IMPLIED, INCLUDING BUT NOT LIMITED TO THE WARRANTIES OF MERCHANTABILITY,
 * FITNESS FOR A PARTICULAR PURPOSE AND NONINFRINGEMENT. IN NO EVENT SHALL THE
 * AUTHORS OR COPYRIGHT HOLDERS BE LIABLE FOR ANY CLAIM, DAMAGES OR OTHER
 * LIABILITY, WHETHER IN AN ACTION OF CONTRACT, TORT OR OTHERWISE, ARISING FROM,
 * OUT OF OR IN CONNECTION WITH THE SOFTWARE OR THE USE OR OTHER DEALINGS IN THE
 * SOFTWARE.
 */


#pragma once

void ble_module_init();

void ble_bas_notify(uint8_t batt_level);
void ble_spo2_notify(uint16_t spo2_val);
void ble_temp_notify(int16_t temp_val);
void ble_resp_rate_notify(uint16_t resp_rate);

void ble_ecg_notify_single(int32_t ecg_data);
void ble_bioz_notify_single(int32_t resp_data);

void ble_ecg_notify(int32_t *ecg_data, uint8_t len);
void ble_ppg_notify(int32_t *ppg_data, uint8_t len);
void ble_bioz_notify(int32_t *resp_data, uint8_t len);

void healthypi5_service_send_data(const uint8_t *data, uint16_t len);
```

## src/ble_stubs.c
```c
/*
 * SPDX-License-Identifier: MIT
 *
 * Copyright (c) 2025 Ashwin Whitchurch, ProtoCentral Electronics
 *
 * Permission is hereby granted, free of charge, to any person obtaining a copy
 * of this software and associated documentation files (the "Software"), to deal
 * in the Software without restriction, including without limitation the rights
 * to use, copy, modify, merge, publish, distribute, sublicense, and/or sell
 * copies of the Software, and to permit persons to whom the Software is
 * furnished to do so, subject to the following conditions:
 *
 * The above copyright notice and this permission notice shall be included in all
 * copies or substantial portions of the Software.
 *
 * THE SOFTWARE IS PROVIDED "AS IS", WITHOUT WARRANTY OF ANY KIND, EXPRESS OR
 * IMPLIED, INCLUDING BUT NOT LIMITED TO THE WARRANTIES OF MERCHANTABILITY,
 * FITNESS FOR A PARTICULAR PURPOSE AND NONINFRINGEMENT. IN NO EVENT SHALL THE
 * AUTHORS OR COPYRIGHT HOLDERS BE LIABLE FOR ANY CLAIM, DAMAGES OR OTHER
 * LIABILITY, WHETHER IN AN ACTION OF CONTRACT, TORT OR OTHERWISE, ARISING FROM,
 * OUT OF OR IN CONNECTION WITH THE SOFTWARE OR THE USE OR OTHER DEALINGS IN THE
 * SOFTWARE.
 */


/*
 * BLE stubs - provide no-op implementations for BLE symbols when
 * CONFIG_HEALTHYPI_BLE_ENABLED is not set. This avoids linker errors
 * from modules that reference BLE APIs while allowing the BLE module
 * to be excluded from the build.
 */

#include <zephyr/kernel.h>
#include <stdint.h>

#include "ble_module.h"

#ifndef CONFIG_HEALTHYPI_BLE_ENABLED

/* Provide semaphores referenced elsewhere */
K_SEM_DEFINE(sem_ble_connected, 0, 1);
K_SEM_DEFINE(sem_ble_disconnected, 0, 1);

/* No-op initializer */
void ble_module_init(void)
{
    /* BLE disabled - nothing to initialize */
}

/* Notification helpers: no-op when BLE disabled */
void ble_ecg_notify_single(int32_t ecg_data) { (void)ecg_data; }
void ble_bioz_notify_single(int32_t resp_data) { (void)resp_data; }
void ble_ecg_notify(int32_t *ecg_data, uint8_t len) { (void)ecg_data; (void)len; }
void ble_bioz_notify(int32_t *resp_data, uint8_t len) { (void)resp_data; (void)len; }

/* Command service data sender: no-op */
void healthypi5_service_send_data(const uint8_t *data, uint16_t len)
{
    (void)data;
    (void)len;
}

#endif /* CONFIG_HEALTHYPI_BLE_ENABLED */
```

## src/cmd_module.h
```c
/*
 * SPDX-License-Identifier: MIT
 *
 * Copyright (c) 2025 Ashwin Whitchurch, ProtoCentral Electronics
 *
 * Permission is hereby granted, free of charge, to any person obtaining a copy
 * of this software and associated documentation files (the "Software"), to deal
 * in the Software without restriction, including without limitation the rights
 * to use, copy, modify, merge, publish, distribute, sublicense, and/or sell
 * copies of the Software, and to permit persons to whom the Software is
 * furnished to do so, subject to the following conditions:
 *
 * The above copyright notice and this permission notice shall be included in all
 * copies or substantial portions of the Software.
 *
 * THE SOFTWARE IS PROVIDED "AS IS", WITHOUT WARRANTY OF ANY KIND, EXPRESS OR
 * IMPLIED, INCLUDING BUT NOT LIMITED TO THE WARRANTIES OF MERCHANTABILITY,
 * FITNESS FOR A PARTICULAR PURPOSE AND NONINFRINGEMENT. IN NO EVENT SHALL THE
 * AUTHORS OR COPYRIGHT HOLDERS BE LIABLE FOR ANY CLAIM, DAMAGES OR OTHER
 * LIABILITY, WHETHER IN AN ACTION OF CONTRACT, TORT OR OTHERWISE, ARISING FROM,
 * OUT OF OR IN CONNECTION WITH THE SOFTWARE OR THE USE OR OTHER DEALINGS IN THE
 * SOFTWARE.
 */


#pragma once

#define FILE_TRANSFER_BLE_PACKET_SIZE 64

#define CES_CMDIF_PKT_START_1 0x0A
#define CES_CMDIF_PKT_START_2 0xFA
#define CES_CMDIF_PKT_STOP_1 0x00
#define CES_CMDIF_PKT_STOP_2 0x0B


#define CMD_LOGGING_MEMORY_FREE 0x32 //tested
#define CMD_LOGGING_MEMORY_NOT_AVAILABLE 0x31
#define CMD_LOGGING_END 0x56 //tested
#define CMD_LOGGING_START 0x55 //tested
#define CMD_LOG_GET_COUNT 0x54  //tested
#define CMD_FETCH_LOG_FILE_DATA 0x51 //
#define CMD_LOG_SESSION_HEADERS 0x50
#define CMG_SESSION_DELETE 0x52 //tested
#define CMD_SESSION_WIPE_ALL 0x53 //tested
#define CMD_SD_CARD_PRESENT 0x59
#define CMD_SD_CARD_NOT_PRESENT 0x58
#define CMD_FETCH_SD_CARD_STATUS 0x57

void cmdif_send_ble_progress(uint8_t m_stage, uint16_t m_total_time, uint16_t m_curr_time, uint16_t m_current, uint16_t m_imped);
void cmdif_send_ble_command(uint8_t m_cmd);
void cmdif_send_ble_device_status_response(void);
void cmdif_send_ble_file_data(int8_t *m_data, uint8_t m_data_len);
void cmdif_send_memory_status(uint8_t m_cmd);
void cmdif_send_session_count(uint8_t m_cmd,uint8_t indication);
void cmdif_send_ble_session_data(int8_t *m_data, uint8_t m_data_len);
void cmdif_send_ble_data_idx(uint8_t *m_data, uint8_t m_data_len);



enum cmdsm_state
{
    CMD_SM_STATE_INIT = 0,
    CMD_SM_STATE_SOF1_FOUND,
    CMD_SM_STATE_SOF2_FOUND,
    CMD_SM_STATE_PKTLEN_FOUND,
};

enum cmdsm_index
{
    CES_CMDIF_IND_LEN = 2,
    CES_CMDIF_IND_LEN_MSB,
    CES_CMDIF_IND_PKTTYPE,
    CES_CMDIF_PKT_OVERHEAD,
};

enum hpi_cmds
{
    HPI_CMD_GET_DEVICE_STATUS = 0x40,
    HPI_CMD_RESET = 0x41,
};

enum wiser_device_state
{
    HPI_STATUS_IDLE = 0x20,
    HPI_STATUS_BUSY = 0x21,
};

enum cmdif_pkt_type
{
    CES_CMDIF_TYPE_CMD = 0x01,
    CES_CMDIF_TYPE_DATA = 0x02,
    CES_CMDIF_TYPE_STATUS = 0x03,
    CES_CMDIF_TYPE_PROGRESS = 0x04,
    CES_CMDIF_TYPE_LOG_IDX = 0x05,
    CES_CMDIF_TYPE_CMD_RSP = 0x06,
};

enum ble_status
{
    BLE_STATUS_CONNECTED,
    BLE_STATUS_DISCONNECTED,
    BLE_STATUS_CONNECTING,
};

#define MAX_MSG_SIZE 32

struct hpi_cmd_data_obj_t
{
    uint8_t pkt_type;
    uint8_t data_len;
    uint8_t data[MAX_MSG_SIZE];
};

struct hpi_sensor_logging_data_t {
    int32_t log_ecg_sample;
    int16_t log_ppg_sample;
    int32_t log_bioz_sample;
};
```
